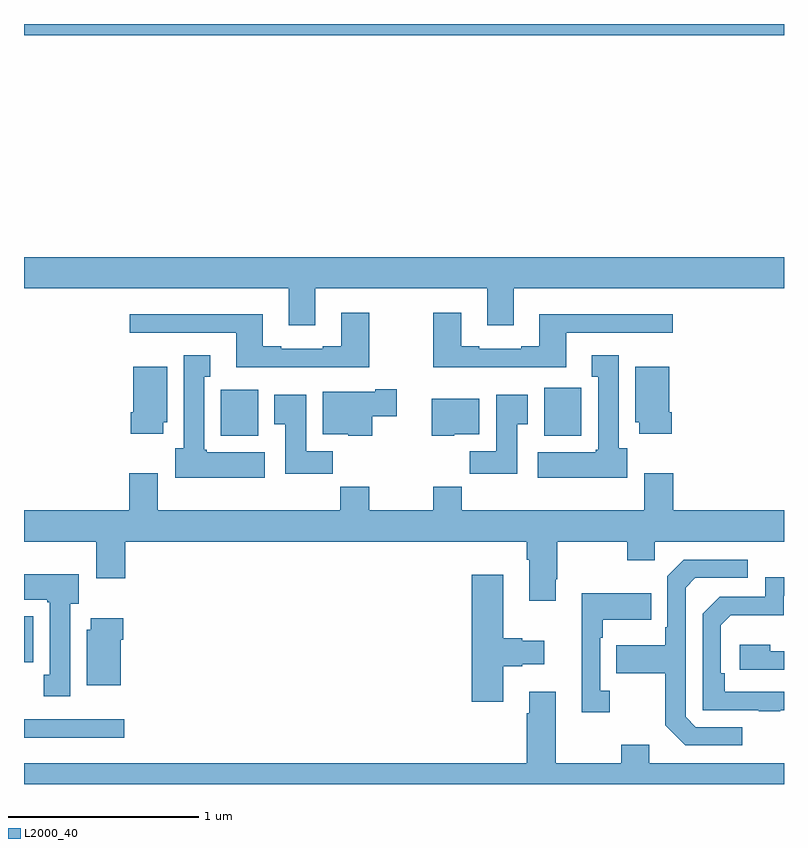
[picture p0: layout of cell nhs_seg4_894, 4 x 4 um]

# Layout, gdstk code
import gdstk
lib = gdstk.Library(unit=1e-6, precision=1e-09)
def R(c, l, rs):  # rectangles x0, y0, x1, y1
    for r in rs: c.add(gdstk.rectangle(r[:2], r[2:], *l))
def P(c, l, *ps):  # polygons
    for p in ps: c.add(gdstk.Polygon(p, *l))
L2000_40 = (2000, 40)

nhs_seg4_894 = lib.new_cell('nhs_seg4_894')
R(nhs_seg4_894, L2000_40, [(157,773.144,157.528,773.241), (157,773.54,157.048,773.782), (158.036,774.734,158.233,774.976), (159.737,774.734,159.933,774.985), (157,776.84,161,776.9)])
P(nhs_seg4_894, L2000_40, [(158.533,775.508),(159.437,775.508),(159.437,775.314),(159.577,775.314),(159.577,775.508),(161,775.508),(161,775.672),(157,775.672),(157,775.508),(158.393,775.508),(158.393,775.314),(158.533,775.314)],
  [(159.853,775.275),(160.414,775.275),(160.414,775.372),(159.713,775.372),(159.713,775.204),(159.617,775.204),(159.617,775.191),(159.397,775.191),(159.397,775.204),(159.301,775.204),(159.301,775.381),(159.154,775.381),(159.154,775.094),(159.853,775.094)],
  [(158.817,775.381),(158.669,775.381),(158.669,775.204),(158.573,775.204),(158.573,775.191),(158.353,775.191),(158.353,775.204),(158.257,775.204),(158.257,775.372),(157.557,775.372),(157.557,775.275),(158.117,775.275),(158.117,775.094),(158.817,775.094)],
  [(158.266,774.646),(157.962,774.646),(157.962,774.66),(157.948,774.66),(157.948,775.043),(157.981,775.043),(157.981,775.156),(157.841,775.156),(157.841,774.666),(157.796,774.666),(157.796,774.512),(158.266,774.512)],
  [(160.174,774.666),(160.129,774.666),(160.129,775.156),(159.989,775.156),(159.989,775.043),(160.022,775.043),(160.022,774.66),(160.009,774.66),(160.009,774.646),(159.705,774.646),(159.705,774.512),(160.174,774.512)],
  [(160.409,774.856),(160.396,774.856),(160.396,775.096),(160.217,775.096),(160.217,774.804),(160.238,774.804),(160.238,774.744),(160.409,774.744)],
  [(157.732,774.804),(157.753,774.804),(157.753,775.096),(157.574,775.096),(157.574,774.856),(157.562,774.856),(157.562,774.744),(157.732,774.744)],
  [(158.832,774.835),(158.962,774.835),(158.962,774.977),(158.849,774.977),(158.849,774.964),(158.573,774.964),(158.573,774.74),(158.706,774.74),(158.706,774.734),(158.832,774.734)],
  [(159.595,774.793),(159.652,774.793),(159.652,774.949),(159.485,774.949),(159.485,774.652),(159.346,774.652),(159.346,774.534),(159.595,774.534)],
  [(158.624,774.652),(158.485,774.652),(158.485,774.949),(158.318,774.949),(158.318,774.793),(158.375,774.793),(158.375,774.534),(158.624,774.534)],
  [(159.264,774.74),(159.397,774.74),(159.397,774.928),(159.146,774.928),(159.146,774.734),(159.264,774.734)],
  [(159.799,773.977),(159.807,773.977),(159.807,774.176),(160.174,774.176),(160.174,774.077),(160.32,774.077),(160.32,774.176),(161,774.176),(161,774.34),(160.418,774.34),(160.418,774.535),(160.265,774.535),(160.265,774.34),(159.305,774.34),(159.305,774.464),(159.154,774.464),(159.154,774.34),(158.817,774.34),(158.817,774.464),(158.665,774.464),(158.665,774.34),(157.705,774.34),(157.705,774.535),(157.553,774.535),(157.553,774.34),(157,774.34),(157,774.176),(157.379,774.176),(157.379,773.982),(157.532,773.982),(157.532,774.176),(159.647,774.176),(159.647,774.08),(159.659,774.08),(159.659,773.865),(159.799,773.865)],
  [(160.78,773.199),(160.536,773.199),(160.482,773.253),(160.482,773.934),(160.533,773.985),(160.81,773.985),(160.81,774.081),(160.473,774.081),(160.386,773.994),(160.386,773.725),(160.374,773.725),(160.374,773.629),(160.117,773.629),(160.117,773.482),(160.374,773.482),(160.374,773.209),(160.479,773.103),(160.78,773.103)],
  [(157.243,773.85),(157.288,773.85),(157.288,774.004),(157,774.004),(157,773.87),(157.123,773.87),(157.123,773.857),(157.136,773.857),(157.136,773.474),(157.103,773.474),(157.103,773.361),(157.243,773.361)],
  [(159.523,773.519),(159.623,773.519),(159.623,773.531),(159.739,773.531),(159.739,773.653),(159.623,773.653),(159.623,773.666),(159.523,773.666),(159.523,774.001),(159.356,774.001),(159.356,773.334),(159.523,773.334)],
  [(160.979,773.289),(161,773.289),(161,773.385),(160.688,773.385),(160.688,773.482),(160.668,773.482),(160.668,773.736),(160.721,773.789),(160.998,773.789),(160.998,773.892),(161,773.892),(161,773.988),(160.902,773.988),(160.902,773.886),(160.662,773.886),(160.572,773.796),(160.572,773.289),(160.867,773.289),(160.867,773.284),(160.979,773.284)],
  [(160.084,773.39),(160.032,773.39),(160.032,773.669),(160.045,773.669),(160.045,773.765),(160.301,773.765),(160.301,773.905),(159.935,773.905),(159.935,773.277),(160.084,773.277)],
  [(157.51,773.66),(157.523,773.66),(157.523,773.773),(157.352,773.773),(157.352,773.712),(157.331,773.712),(157.331,773.42),(157.51,773.42)],
  [(161,773.598),(160.928,773.598),(160.928,773.632),(160.767,773.632),(160.767,773.502),(161,773.502)],
  [(159.659,773.386),(159.659,773.273),(159.647,773.273),(159.647,773.008),(157,773.008),(157,772.9),(161,772.9),(161,773.008),(160.291,773.008),(160.291,773.107),(160.144,773.107),(160.144,773.008),(159.799,773.008),(159.799,773.386)])

lib.write_gds('nhs_seg4_894.gds')
